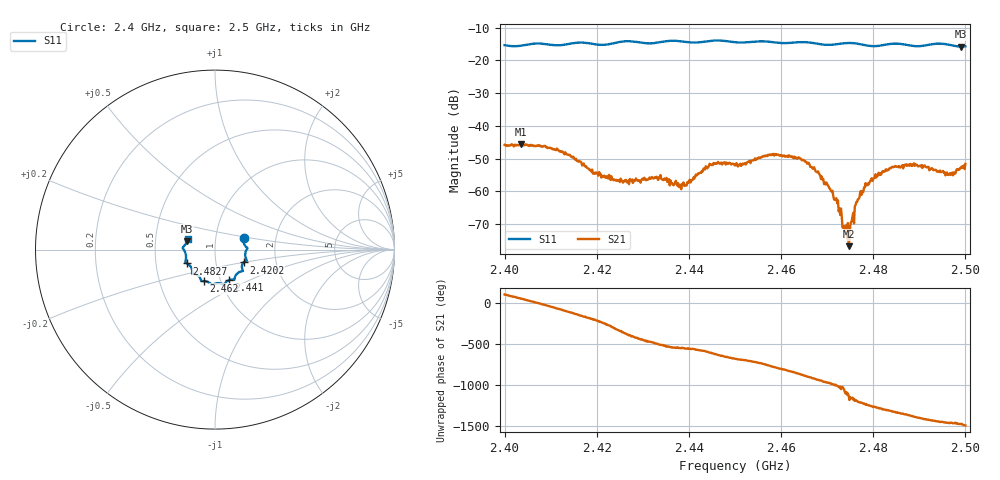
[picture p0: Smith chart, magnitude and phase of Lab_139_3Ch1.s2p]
# Hz S RI R 50
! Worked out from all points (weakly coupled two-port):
!   601 points, 2.4 GHz to 2.5 GHz, reference 50 ohm
!   highest |S21| = -45.58 dB at 2.4035 GHz (marker M1); lowest = -76.7 dB at 2.4747 GHz (marker M2)
!   lowest |S11| = -15.8 dB at 2.499 GHz (marker M3), VSWR 1.39, Z = 36.4 + j3.45 ohm
!   |S11| at or under -10 dB: start of sweep to end of sweep
!   S12 and S22 are empty: the file has one direction only
!   S11 on the Smith chart (normalised r, x): 2.4 GHz: 1.36, +0.18; 2.4202 GHz: 1.36, -0.20; 2.441 GHz: 1.10, -0.39; 2.462 GHz: 0.84, -0.30; 2.4827 GHz: 0.72, -0.11; 2.5 GHz: 0.73, +0.09
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2.4e9  0.1589 0.0628  -0.00113 0.00502  0 0  0 0
2.4035e9  0.166 0.0239  0.00319 0.00418  0 0  0 0
2.411167e9  0.1692 -0.0185  0.00182 -0.00386  0 0  0 0
2.416667e9  0.1772 -0.0608  -0.00252 -0.00113  0 0  0 0
2.420167e9  0.1588 -0.0714  -0.0015 0.00111  0 0  0 0
2.4265e9  0.1563 -0.1187  0.00127 -0.000535  0 0  0 0
2.433333e9  0.1116 -0.1508  -0.00122 -0.000879  0 0  0 0
2.438e9  0.1041 -0.1674  -0.00115 0.000187  0 0  0 0
2.441e9  0.0789 -0.1698  -0.00153 0.000613  0 0  0 0
2.445e9  0.0522 -0.193  -0.000704 0.00242  0 0  0 0
2.45e9  0.0285 -0.1875  0.00191 0.00159  0 0  0 0
2.462e9  -0.0602 -0.1753  -0.00147 -0.00307  0 0  0 0
2.466667e9  -0.0789 -0.1682  -0.00227 0.000658  0 0  0 0
2.470667e9  -0.1007 -0.1403  -0.000141 0.00108  0 0  0 0
2.4725e9  -0.1168 -0.1348  0.000293 0.000404  0 0  0 0
2.473833e9  -0.1244 -0.1346  0.000243 -3.18e-05  0 0  0 0
2.474667e9  -0.1268 -0.1343  8.54e-05 -0.000119  0 0  0 0
2.477833e9  -0.1272 -0.1175  -0.000839 -0.000506  0 0  0 0
2.482667e9  -0.156 -0.0771  -0.00158 0.00145  0 0  0 0
2.483333e9  -0.1603 -0.075  -0.00129 0.00169  0 0  0 0
2.499e9  -0.1556 0.0462  0.00182 -0.00138  0 0  0 0
2.5e9  -0.1524 0.0606  0.0015 -0.00216  0 0  0 0
